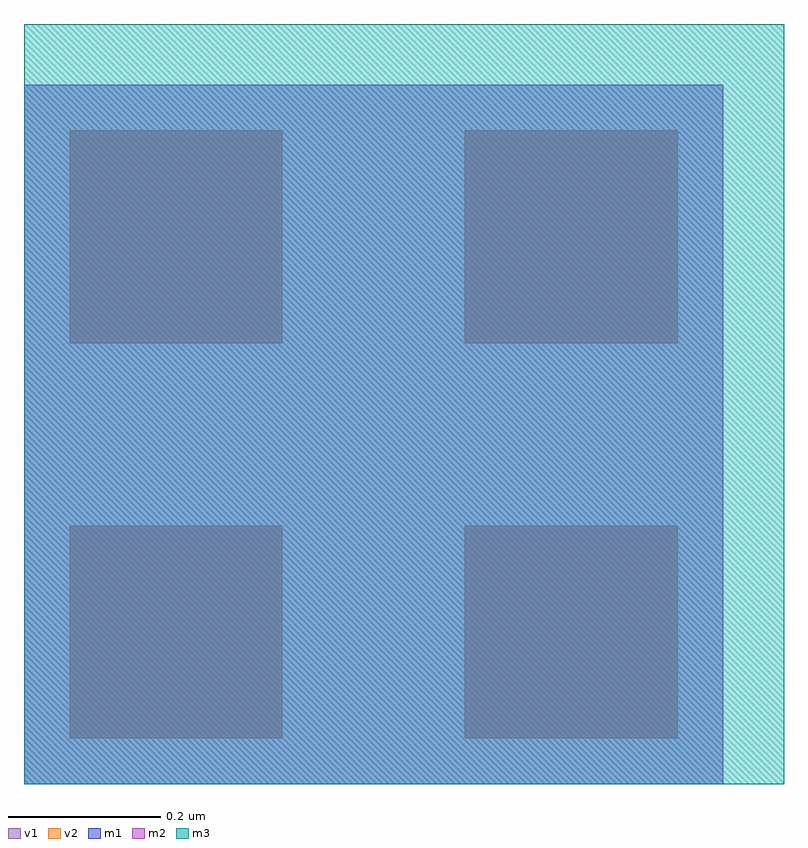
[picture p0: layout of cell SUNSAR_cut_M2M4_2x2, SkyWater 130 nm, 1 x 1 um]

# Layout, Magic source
magic
tech sky130A
magscale 1 1
<< m1 >>
rect 0 0 92 92
<< v1 >>
rect 6 6 34 34
rect 6 58 34 86
rect 58 6 86 34
rect 58 58 86 86
<< m2 >>
rect 0 0 92 92
<< v2 >>
rect 6 6 34 34
rect 6 58 34 86
rect 58 6 86 34
rect 58 58 86 86
<< m3 >>
rect 0 0 100 100
<< labels >>
<< properties >>
string FIXED_BBOX 0 0 100 100
<< end >>
